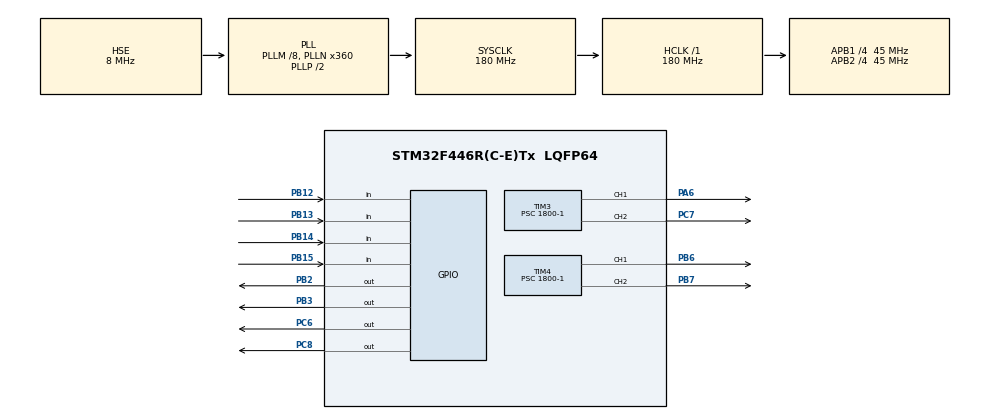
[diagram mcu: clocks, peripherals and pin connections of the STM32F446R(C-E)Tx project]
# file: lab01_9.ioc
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Mcu.Family=STM32F4
Mcu.Name=STM32F446R(C-E)Tx
Mcu.Package=LQFP64
NVIC.PriorityGroup=NVIC_PRIORITYGROUP_4
PA13.Mode=Serial_Wire
PA13.Signal=SYS_JTMS-SWDIO
PA14.Mode=Serial_Wire
PA14.Signal=SYS_JTCK-SWCLK
PA6.Signal=S_TIM3_CH1
PB12.Signal=GPIO_Input
PB13.Signal=GPIO_Input
PB14.Signal=GPIO_Input
PB15.Signal=GPIO_Input
PB2.Signal=GPIO_Output
PB3.Signal=GPIO_Output
PB6.Signal=S_TIM4_CH1
PB7.Signal=S_TIM4_CH2
PC6.Signal=GPIO_Output
PC7.Signal=S_TIM3_CH2
PC8.Signal=GPIO_Output
PH0-OSC_IN.Mode=HSE-External-Oscillator
PH0-OSC_IN.Signal=RCC_OSC_IN
PH1-OSC_OUT.Mode=HSE-External-Oscillator
PH1-OSC_OUT.Signal=RCC_OSC_OUT
ProjectManager.HeapSize=0x200
ProjectManager.StackSize=0x400
ProjectManager.TargetToolchain=STM32CubeIDE
RCC.AHBFreq_Value=180000000
RCC.APB1CLKDivider=RCC_HCLK_DIV4
RCC.APB1Freq_Value=45000000
RCC.APB1TimFreq_Value=90000000
RCC.APB2CLKDivider=RCC_HCLK_DIV4
RCC.APB2Freq_Value=45000000
RCC.APB2TimFreq_Value=90000000
RCC.CortexFreq_Value=180000000
RCC.HCLKFreq_Value=180000000
RCC.HSE_VALUE=8000000
RCC.PLLM=8
RCC.PLLN=360
RCC.PLLSourceVirtual=RCC_PLLSOURCE_HSE
RCC.SYSCLKFreq_VALUE=180000000
RCC.SYSCLKSource=RCC_SYSCLKSOURCE_PLLCLK
RCC.USBFreq_Value=180000000
RCC.VCOOutputFreq_Value=360000000
SH.S_TIM3_CH1.0=TIM3_CH1,PWM Generation1 CH1
SH.S_TIM3_CH2.0=TIM3_CH2,PWM Generation2 CH2
SH.S_TIM4_CH1.0=TIM4_CH1,PWM Generation1 CH1
SH.S_TIM4_CH2.0=TIM4_CH2,PWM Generation2 CH2
TIM3.AutoReloadPreload=TIM_AUTORELOAD_PRELOAD_ENABLE
TIM3.Channel-PWM\ Generation1\ CH1=TIM_CHANNEL_1
TIM3.Channel-PWM\ Generation2\ CH2=TIM_CHANNEL_2
TIM3.Period=1000-1
TIM3.Prescaler=1800-1
TIM4.AutoReloadPreload=TIM_AUTORELOAD_PRELOAD_ENABLE
TIM4.Channel-PWM\ Generation1\ CH1=TIM_CHANNEL_1
TIM4.Channel-PWM\ Generation2\ CH2=TIM_CHANNEL_2
TIM4.Period=1000-1
TIM4.Prescaler=1800-1
VP_TIM3_VS_ClockSourceINT.Mode=Internal
VP_TIM4_VS_ClockSourceINT.Mode=Internal
board=custom

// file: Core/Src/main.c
/* USER CODE BEGIN Header */
/**
  ******************************************************************************
  * @file           : main.c
  * @brief          : Main program body
  ******************************************************************************
  * @attention
  *
  * Copyright (c) 2026 STMicroelectronics.
  * All rights reserved.
  *
  * This software is licensed under terms that can be found in the LICENSE file
  * in the root directory of this software component.
  * If no LICENSE file comes with this software, it is provided AS-IS.
  *
  ******************************************************************************
  */
/* USER CODE END Header */
#include "main.h"

/* USER CODE BEGIN Includes */
#include <string.h>
/* USER CODE END Includes */

TIM_HandleTypeDef htim3;
TIM_HandleTypeDef htim4;

/* USER CODE BEGIN PV */
//Button1-4
GPIO_TypeDef *buttonPort[4] = {GPIOB,GPIOB,GPIOB,GPIOB};
int button[4] = {GPIO_PIN_15,GPIO_PIN_12,GPIO_PIN_13,GPIO_PIN_14};
//LED1-LED4
GPIO_TypeDef *ledPort[4] = {GPIOB,GPIOC,GPIOC,GPIOB};
int ledGPIO[4] = {GPIO_PIN_2,GPIO_PIN_6,GPIO_PIN_8,GPIO_PIN_3};

int speed = 0;
int direction = 0;
/* USER CODE END PV */

void SystemClock_Config(void);
static void MX_GPIO_Init(void);
static void MX_TIM3_Init(void);
static void MX_TIM4_Init(void);
/* USER CODE BEGIN PFP */
int isButtonPressed(int bt);
void showLED(int speed,int direction);
void drive(int speed,int direction);
void setPWM(TIM_HandleTypeDef *timer, uint32_t channel,uint16_t pulse);
void stopPWM(TIM_HandleTypeDef *timer,uint32_t channel);
/* USER CODE END PFP */

int main(void)
{

  /* MCU Configuration--------------------------------------------------------*/

  /* Reset of all peripherals, Initializes the Flash interface and the Systick. */
  HAL_Init();

  /* Configure the system clock */
  SystemClock_Config();

  /* Initialize all configured peripherals */
  MX_GPIO_Init();
  MX_TIM3_Init();
  MX_TIM4_Init();
  /* USER CODE BEGIN 2 */
  // stop all motors
  setPWM(&htim3,TIM_CHANNEL_1,0);
  setPWM(&htim3,TIM_CHANNEL_2,0);
  setPWM(&htim4,TIM_CHANNEL_1,0);
  setPWM(&htim4,TIM_CHANNEL_2,0);
  /* USER CODE END 2 */

  /* Infinite loop */
  /* USER CODE BEGIN WHILE */
  while (1)
  {
	int i;
	if(isButtonPressed(0) && isButtonPressed(1)){
		speed = 0;  // stop motor when pressing both buttons
	}else
	for(i=0;i<4;i++){
		if(isButtonPressed(i)){
			switch(i){
			case 0: // decrease speed
				if(speed > -100) {speed -=20;} break;
			case 1: // increase speed
				if(speed < 100) {speed += 20;} break;
			case 2: // turn left
				direction = -100; break;
			case 3: // turn right
				direction = 100; break;
			}
		}
	}
	showLED(speed,direction);
	drive(speed,direction);
	HAL_Delay(50);
	direction = 0; // return to center
    /* USER CODE END WHILE */

  }
}

void SystemClock_Config(void)
{
  RCC_OscInitTypeDef RCC_OscInitStruct = {0};
  RCC_ClkInitTypeDef RCC_ClkInitStruct = {0};

  /** Configure the main internal regulator output voltage
  */
  __HAL_RCC_PWR_CLK_ENABLE();
  __HAL_PWR_VOLTAGESCALING_CONFIG(PWR_REGULATOR_VOLTAGE_SCALE1);

  /** Initializes the RCC Oscillators according to the specified parameters
  * in the RCC_OscInitTypeDef structure.
  */
  RCC_OscInitStruct.OscillatorType = RCC_OSCILLATORTYPE_HSE;
  RCC_OscInitStruct.HSEState = RCC_HSE_ON;
  RCC_OscInitStruct.PLL.PLLState = RCC_PLL_ON;
  RCC_OscInitStruct.PLL.PLLSource = RCC_PLLSOURCE_HSE;
  RCC_OscInitStruct.PLL.PLLM = 8;
  RCC_OscInitStruct.PLL.PLLN = 360;
  RCC_OscInitStruct.PLL.PLLP = RCC_PLLP_DIV2;
  RCC_OscInitStruct.PLL.PLLQ = 2;
  RCC_OscInitStruct.PLL.PLLR = 2;
  if (HAL_RCC_OscConfig(&RCC_OscInitStruct) != HAL_OK)
  {
    Error_Handler();
  }

  /** Activate the Over-Drive mode
  */
  if (HAL_PWREx_EnableOverDrive() != HAL_OK)
  {
    Error_Handler();
  }

  /** Initializes the CPU, AHB and APB buses clocks
  */
  RCC_ClkInitStruct.ClockType = RCC_CLOCKTYPE_HCLK|RCC_CLOCKTYPE_SYSCLK
                              |RCC_CLOCKTYPE_PCLK1|RCC_CLOCKTYPE_PCLK2;
  RCC_ClkInitStruct.SYSCLKSource = RCC_SYSCLKSOURCE_PLLCLK;
  RCC_ClkInitStruct.AHBCLKDivider = RCC_SYSCLK_DIV1;
  RCC_ClkInitStruct.APB1CLKDivider = RCC_HCLK_DIV4;
  RCC_ClkInitStruct.APB2CLKDivider = RCC_HCLK_DIV4;

  if (HAL_RCC_ClockConfig(&RCC_ClkInitStruct, FLASH_LATENCY_5) != HAL_OK)
  {
    Error_Handler();
  }
}

static void MX_TIM3_Init(void)
{

  TIM_ClockConfigTypeDef sClockSourceConfig = {0};
  TIM_MasterConfigTypeDef sMasterConfig = {0};
  TIM_OC_InitTypeDef sConfigOC = {0};

  htim3.Instance = TIM3;
  htim3.Init.Prescaler = 1800-1;
  htim3.Init.CounterMode = TIM_COUNTERMODE_UP;
  htim3.Init.Period = 1000-1;
  htim3.Init.ClockDivision = TIM_CLOCKDIVISION_DIV1;
  htim3.Init.AutoReloadPreload = TIM_AUTORELOAD_PRELOAD_ENABLE;
  if (HAL_TIM_Base_Init(&htim3) != HAL_OK)
  {
    Error_Handler();
  }
  sClockSourceConfig.ClockSource = TIM_CLOCKSOURCE_INTERNAL;
  if (HAL_TIM_ConfigClockSource(&htim3, &sClockSourceConfig) != HAL_OK)
  {
    Error_Handler();
  }
  if (HAL_TIM_PWM_Init(&htim3) != HAL_OK)
  {
    Error_Handler();
  }
  sMasterConfig.MasterOutputTrigger = TIM_TRGO_RESET;
  sMasterConfig.MasterSlaveMode = TIM_MASTERSLAVEMODE_DISABLE;
  if (HAL_TIMEx_MasterConfigSynchronization(&htim3, &sMasterConfig) != HAL_OK)
  {
    Error_Handler();
  }
  sConfigOC.OCMode = TIM_OCMODE_PWM1;
  sConfigOC.Pulse = 0;
  sConfigOC.OCPolarity = TIM_OCPOLARITY_HIGH;
  sConfigOC.OCFastMode = TIM_OCFAST_DISABLE;
  if (HAL_TIM_PWM_ConfigChannel(&htim3, &sConfigOC, TIM_CHANNEL_1) != HAL_OK)
  {
    Error_Handler();
  }
  if (HAL_TIM_PWM_ConfigChannel(&htim3, &sConfigOC, TIM_CHANNEL_2) != HAL_OK)
  {
    Error_Handler();
  }
  HAL_TIM_MspPostInit(&htim3);

}

static void MX_TIM4_Init(void)
{

  TIM_ClockConfigTypeDef sClockSourceConfig = {0};
  TIM_MasterConfigTypeDef sMasterConfig = {0};
  TIM_OC_InitTypeDef sConfigOC = {0};

  htim4.Instance = TIM4;
  htim4.Init.Prescaler = 1800-1;
  htim4.Init.CounterMode = TIM_COUNTERMODE_UP;
  htim4.Init.Period = 1000-1;
  htim4.Init.ClockDivision = TIM_CLOCKDIVISION_DIV1;
  htim4.Init.AutoReloadPreload = TIM_AUTORELOAD_PRELOAD_ENABLE;
  if (HAL_TIM_Base_Init(&htim4) != HAL_OK)
  {
    Error_Handler();
  }
  sClockSourceConfig.ClockSource = TIM_CLOCKSOURCE_INTERNAL;
  if (HAL_TIM_ConfigClockSource(&htim4, &sClockSourceConfig) != HAL_OK)
  {
    Error_Handler();
  }
  if (HAL_TIM_PWM_Init(&htim4) != HAL_OK)
  {
    Error_Handler();
  }
  sMasterConfig.MasterOutputTrigger = TIM_TRGO_RESET;
  sMasterConfig.MasterSlaveMode = TIM_MASTERSLAVEMODE_DISABLE;
  if (HAL_TIMEx_MasterConfigSynchronization(&htim4, &sMasterConfig) != HAL_OK)
  {
    Error_Handler();
  }
  sConfigOC.OCMode = TIM_OCMODE_PWM1;
  sConfigOC.Pulse = 0;
  sConfigOC.OCPolarity = TIM_OCPOLARITY_HIGH;
  sConfigOC.OCFastMode = TIM_OCFAST_DISABLE;
  if (HAL_TIM_PWM_ConfigChannel(&htim4, &sConfigOC, TIM_CHANNEL_1) != HAL_OK)
  {
    Error_Handler();
  }
  if (HAL_TIM_PWM_ConfigChannel(&htim4, &sConfigOC, TIM_CHANNEL_2) != HAL_OK)
  {
    Error_Handler();
  }
  HAL_TIM_MspPostInit(&htim4);

}

static void MX_GPIO_Init(void)
{
  GPIO_InitTypeDef GPIO_InitStruct = {0};

  /* GPIO Ports Clock Enable */
  __HAL_RCC_GPIOH_CLK_ENABLE();
  __HAL_RCC_GPIOA_CLK_ENABLE();
  __HAL_RCC_GPIOB_CLK_ENABLE();
  __HAL_RCC_GPIOC_CLK_ENABLE();

  /*Configure GPIO pin Output Level */
  HAL_GPIO_WritePin(GPIOB, GPIO_PIN_2|GPIO_PIN_3, GPIO_PIN_RESET);

  /*Configure GPIO pin Output Level */
  HAL_GPIO_WritePin(GPIOC, GPIO_PIN_6|GPIO_PIN_8, GPIO_PIN_RESET);

  /*Configure GPIO pins : PB2 PB3 */
  GPIO_InitStruct.Pin = GPIO_PIN_2|GPIO_PIN_3;
  GPIO_InitStruct.Mode = GPIO_MODE_OUTPUT_PP;
  GPIO_InitStruct.Pull = GPIO_NOPULL;
  GPIO_InitStruct.Speed = GPIO_SPEED_FREQ_LOW;
  HAL_GPIO_Init(GPIOB, &GPIO_InitStruct);

  /*Configure GPIO pins : PB12 PB13 PB14 PB15 */
  GPIO_InitStruct.Pin = GPIO_PIN_12|GPIO_PIN_13|GPIO_PIN_14|GPIO_PIN_15;
  GPIO_InitStruct.Mode = GPIO_MODE_INPUT;
  GPIO_InitStruct.Pull = GPIO_NOPULL;
  HAL_GPIO_Init(GPIOB, &GPIO_InitStruct);

  /*Configure GPIO pins : PC6 PC8 */
  GPIO_InitStruct.Pin = GPIO_PIN_6|GPIO_PIN_8;
  GPIO_InitStruct.Mode = GPIO_MODE_OUTPUT_PP;
  GPIO_InitStruct.Pull = GPIO_NOPULL;
  GPIO_InitStruct.Speed = GPIO_SPEED_FREQ_LOW;
  HAL_GPIO_Init(GPIOC, &GPIO_InitStruct);

}

/* USER CODE BEGIN 4 */
int isButtonPressed(int bt){
	// This version does not wait for button to depressed
	int x1=HAL_GPIO_ReadPin(buttonPort[bt&3],button[bt&3]);
	HAL_Delay(50);  //Delay for a bit to check for debouncing
	int x2=HAL_GPIO_ReadPin(buttonPort[bt&3],button[bt&3]);
	if((x1==x2)&&(x2==0)){
		return 1;
	}
	return 0;
}

void showLED(int speed,int direction){
	if(speed > 0){
		HAL_GPIO_WritePin(ledPort[0],ledGPIO[0],1);
		HAL_GPIO_WritePin(ledPort[1],ledGPIO[1],0);
	}else if(speed < 0){
		HAL_GPIO_WritePin(ledPort[0],ledGPIO[0],0);
		HAL_GPIO_WritePin(ledPort[1],ledGPIO[1],1);
	}else{
		HAL_GPIO_WritePin(ledPort[0],ledGPIO[0],1);
		HAL_GPIO_WritePin(ledPort[1],ledGPIO[1],1);
	}
	if(direction > 0){
		HAL_GPIO_WritePin(ledPort[3],ledGPIO[3],1);
		HAL_GPIO_WritePin(ledPort[2],ledGPIO[2],0);
	}else if(direction < 0){
		HAL_GPIO_WritePin(ledPort[3],ledGPIO[3],0);
		HAL_GPIO_WritePin(ledPort[2],ledGPIO[2],1);
	}else{
		HAL_GPIO_WritePin(ledPort[3],ledGPIO[3],0);
		HAL_GPIO_WritePin(ledPort[2],ledGPIO[2],0);
	}
}

void drive(int speed,int direction){
	//Valid value for speed is from -100 to 100
	//From backward to forward
	//Valid direction is from -100 to 100
	//From left to right

	int motorL = (speed + direction)*10;
	int motorR = (speed - direction)*10;
	if (motorL < -999) motorL = -999;
	if (motorL > 999)  motorL = 999;
	if (motorR < -999) motorR = -999;
	if (motorR > 999)  motorR = 999;

	if(motorL == 0){
		TIM4->CCR1 = 0;
		TIM4->CCR2 = 0;
	}else if(motorL > 0){
		TIM4->CCR2 = 0;
		TIM4->CCR1 = motorL;
	}else{
		TIM4->CCR1 = 0;
		TIM4->CCR2 = -motorL;
	}
	if(motorR == 0){
		TIM3->CCR1 = 0;
		TIM3->CCR2 = 0;
	}else if(motorR > 0){
		TIM3->CCR2 = 0;
		TIM3->CCR1 = motorR;
	}else{
	    TIM3->CCR1 = 0;
	    TIM3->CCR2 = -motorR;
	}
}

void setPWM(TIM_HandleTypeDef *timer, uint32_t channel, uint16_t pulse){
	HAL_TIM_PWM_Stop(timer,channel);
	TIM_OC_InitTypeDef sConfigOC;

	memset((void *)&sConfigOC,0,sizeof(sConfigOC));

	sConfigOC.OCMode = TIM_OCMODE_PWM1;
	sConfigOC.Pulse = pulse;
	sConfigOC.OCPolarity = TIM_OCPOLARITY_HIGH;
	sConfigOC.OCFastMode = TIM_OCFAST_DISABLE;
	HAL_TIM_PWM_ConfigChannel(timer, &sConfigOC, channel);
	HAL_TIM_PWM_Start(timer, channel);
}

void stopPWM(TIM_HandleTypeDef *timer,uint32_t channel){
	HAL_TIM_PWM_Stop(timer,channel);
	TIM_OC_InitTypeDef sConfigOC;

	memset((void *)&sConfigOC,0,sizeof(sConfigOC));

	sConfigOC.OCMode = TIM_OCMODE_PWM1;
	sConfigOC.Pulse = 0;
	sConfigOC.OCPolarity = TIM_OCPOLARITY_HIGH;
	sConfigOC.OCFastMode = TIM_OCFAST_DISABLE;
	HAL_TIM_PWM_ConfigChannel(timer, &sConfigOC, channel);
}

/* USER CODE END 4 */

void Error_Handler(void)
{
  __disable_irq();
  while (1)
  {
  }
}
